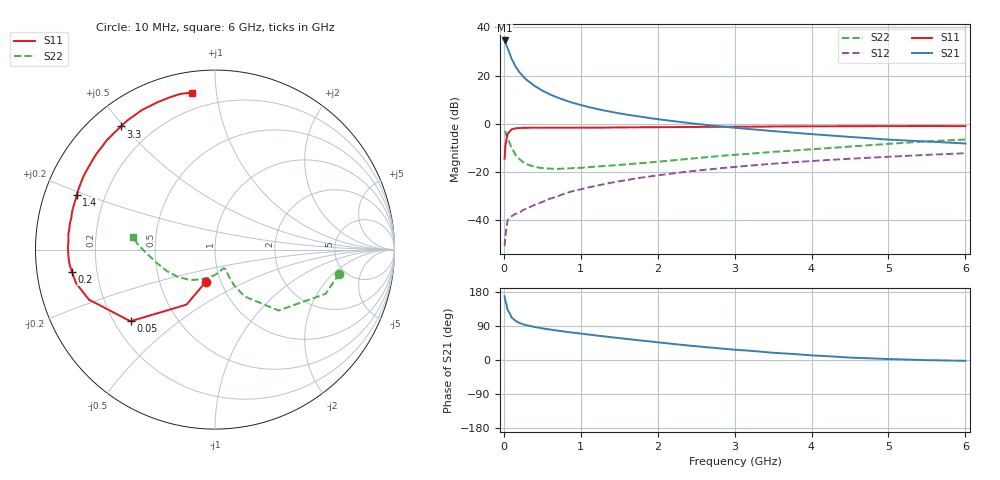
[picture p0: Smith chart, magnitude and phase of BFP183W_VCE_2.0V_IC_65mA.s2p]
! (c) 2017  Infineon Technologies AG, Munich
! Infineon Technologies  Discrete & RF Semiconductors
! BFP183W
! VCE =  2.0 V,  IC =  65 mA
! Common Emitter S-Parameters:  Jan 2017
# GHz  S  MA  R  50
!  f  S11  S21  S12  S22
! GHz  MAG  ANG  MAG  ANG  MAG  ANG  MAG  ANG
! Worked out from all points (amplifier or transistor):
!   77 points, 10 MHz to 6 GHz, reference 50 ohm
!   highest |S21| = 34.6 dB at 10 MHz (marker M1)
!   |S21| within 3 dB of that: start of sweep to 45.97 MHz
!   unconditionally stable (mu >= 1): start of sweep to 19.74 MHz; 223.5 MHz to end of sweep
!   at 130 MHz: K = 0.72, MSG = 31.6 dB, |S12| = -38.0 dB
!   at 2.2 GHz: K = 1.36, MAG = 7.3 dB, |S12| = -20.8 dB
!   at 6 GHz: K = 1.20, MAG = -0.7 dB, |S12| = -12.3 dB
!   S11 on the Smith chart (normalised r, x): 10 MHz: 0.85, -0.31; 50 MHz: 0.27, -0.34; 200 MHz: 0.11, -0.08; 1.4 GHz: 0.10, +0.19; 3.3 GHz: 0.09, +0.49; 6 GHz: 0.11, +0.86
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0.01  0.1855 -105.7  53.72 168.1  0.0028 73.3  0.7059 -10.9
0.02  0.3453 -117.4  50.6 155.9  0.0044 69.5  0.6635 -21.8
0.05  0.6172 -139.7  36.56 131.2  0.0097 49.4  0.4904 -43.8
0.1  0.7556 -158.3  22.29 112.0  0.0117 42.7  0.3083 -57.8
0.15  0.7963 -166.4  15.59 103.5  0.0132 42.1  0.2256 -61.8
0.2  0.807 -171.2  11.89 98.0  0.0137 45.9  0.1834 -62.6
0.25  0.8153 -174.5  9.581 94.2  0.0159 47.1  0.1576 -62.5
0.3  0.8171 -177.0  8.012 91.5  0.0171 50.0  0.1417 -62.3
0.4  0.8197 179.2  6.053 87.0  0.0202 55.8  0.125 -62.0
0.5  0.818 176.3  4.844 83.5  0.0233 60.5  0.1183 -63.1
0.6  0.8213 173.9  4.045 80.4  0.0273 62.7  0.1151 -64.4
0.7  0.8199 171.8  3.467 77.6  0.0307 65.1  0.1138 -66.0
0.9  0.8195 167.5  2.695 72.1  0.0393 66.4  0.1178 -71.0
1.1  0.8243 163.8  2.217 67.2  0.047 68.2  0.1239 -76.0
1.4  0.8286 158.3  1.75 60.1  0.0588 68.6  0.1337 -84.8
1.7  0.8354 152.9  1.448 53.3  0.0712 68.0  0.1461 -94.0
2.1  0.8422 146.0  1.178 44.6  0.0875 66.2  0.1657 -106.7
3.1  0.8598 130.3  0.792 25.8  0.129 59.7  0.2296 -134.6
3.3  0.8634 127.4  0.743 22.7  0.1373 58.3  0.2427 -139.5
4.1  0.8776 116.6  0.587 11.2  0.1696 51.8  0.299 -158.0
5.1  0.885 106.1  0.455 2.0  0.2072 43.5  0.3872 -177.8
6  0.8843 98.2  0.385 -2.2  0.2413 35.9  0.4639 171.4
